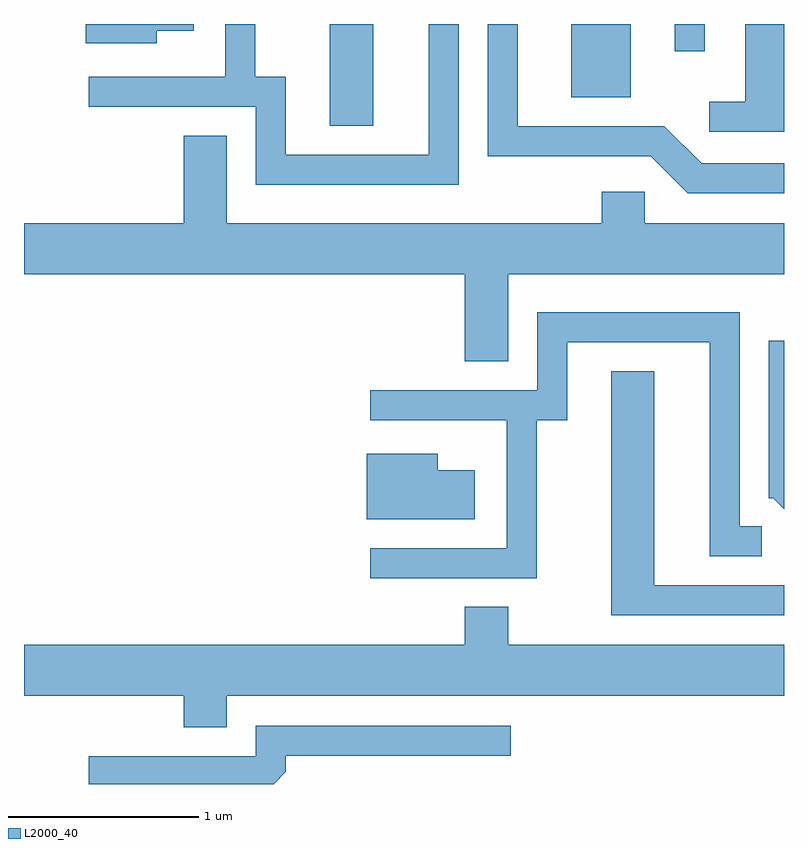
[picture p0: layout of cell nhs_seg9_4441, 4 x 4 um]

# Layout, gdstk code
import gdstk
lib = gdstk.Library(unit=1e-6, precision=1e-09)
def R(c, l, rs):  # rectangles x0, y0, x1, y1
    for r in rs: c.add(gdstk.rectangle(r[:2], r[2:], *l))
def P(c, l, *ps):  # polygons
    for p in ps: c.add(gdstk.Polygon(p, *l))
L2000_40 = (2000, 40)

nhs_seg9_4441 = lib.new_cell('nhs_seg9_4441')
R(nhs_seg9_4441, L2000_40, [(317.221,2025.896,317.449,2026.432), (318.491,2026.046,318.804,2026.432), (319.036,2026.288,319.194,2026.432)])
P(nhs_seg9_4441, L2000_40, [(319.611,2026.432),(319.406,2026.432),(319.406,2026.024),(319.218,2026.024),(319.218,2025.866),(319.611,2025.866)],
  [(316.309,2026.396),(316.504,2026.396),(316.504,2026.432),(315.936,2026.432),(315.936,2026.331),(316.309,2026.331)],
  [(317.899,2026.432),(317.741,2026.432),(317.741,2025.744),(316.989,2025.744),(316.989,2026.154),(316.829,2026.154),(316.829,2026.432),(316.671,2026.432),(316.671,2026.154),(315.953,2026.154),(315.953,2025.996),(316.831,2025.996),(316.831,2025.586),(317.899,2025.586)],
  [(319.611,2025.699),(319.177,2025.699),(318.982,2025.894),(318.209,2025.894),(318.209,2026.432),(318.051,2026.432),(318.051,2025.736),(318.909,2025.736),(319.104,2025.541),(319.611,2025.541)],
  [(318.159,2025.116),(319.611,2025.116),(319.611,2025.384),(318.879,2025.384),(318.879,2025.549),(318.651,2025.549),(318.651,2025.384),(316.679,2025.384),(316.679,2025.844),(316.451,2025.844),(316.451,2025.384),(315.611,2025.384),(315.611,2025.116),(317.931,2025.116),(317.931,2024.656),(318.159,2024.656)],
  [(318.309,2024.346),(318.469,2024.346),(318.469,2024.756),(319.221,2024.756),(319.221,2023.631),(319.493,2023.631),(319.493,2023.789),(319.379,2023.789),(319.379,2024.914),(318.311,2024.914),(318.311,2024.504),(317.433,2024.504),(317.433,2024.346),(318.151,2024.346),(318.151,2023.674),(317.433,2023.674),(317.433,2023.516),(318.309,2023.516)],
  [(319.611,2024.764),(319.531,2024.764),(319.531,2023.936),(319.554,2023.936),(319.611,2023.879)],
  [(319.611,2023.479),(318.929,2023.479),(318.929,2024.604),(318.701,2024.604),(318.701,2023.321),(319.611,2023.321)],
  [(317.984,2024.084),(317.789,2024.084),(317.789,2024.169),(317.416,2024.169),(317.416,2023.826),(317.984,2023.826)],
  [(316.679,2022.896),(319.611,2022.896),(319.611,2023.164),(318.159,2023.164),(318.159,2023.364),(317.931,2023.364),(317.931,2023.164),(315.611,2023.164),(315.611,2022.896),(316.451,2022.896),(316.451,2022.731),(316.679,2022.731)],
  [(316.989,2022.497),(316.989,2022.581),(318.173,2022.581),(318.173,2022.739),(316.831,2022.739),(316.831,2022.579),(315.953,2022.579),(315.953,2022.432),(316.925,2022.432)])

lib.write_gds('nhs_seg9_4441.gds')
